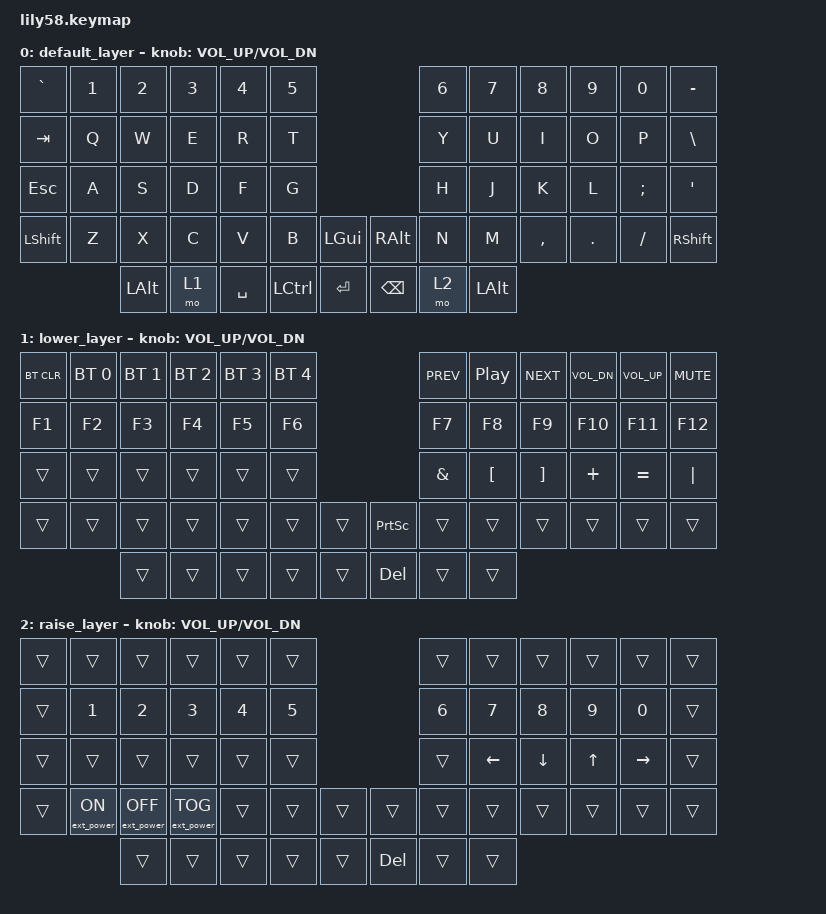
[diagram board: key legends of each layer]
/*
 * Copyright (c) 2020 The ZMK Contributors
 *
 * SPDX-License-Identifier: MIT
 */

#include <behaviors.dtsi>
#include <dt-bindings/zmk/keys.h>
#include <dt-bindings/zmk/bt.h>
#include <dt-bindings/zmk/ext_power.h>

/ {
    kscan: kscan {
        compatible = "zmk,kscan-gpio-matrix";
        diode-direction = "col2row";
        wakeup-source;
    };

    keymap {
        compatible = "zmk,keymap";
        default_layer {
            bindings = <
&kp GRAVE   &kp N1 &kp N2   &kp N3   &kp N4     &kp N5                         &kp N6    &kp N7   &kp N8    &kp N9  &kp N0   &kp MINUS
&kp TAB     &kp Q  &kp W    &kp E    &kp R      &kp T                          &kp Y     &kp U    &kp I     &kp O   &kp P    &kp BACKSLASH
&kp ESC     &kp A  &kp S    &kp D    &kp F      &kp G                          &kp H     &kp J    &kp K     &kp L   &kp SEMI &kp SQT
&kp LSHFT   &kp Z  &kp X    &kp C    &kp V      &kp B      &kp LGUI  &kp RALT  &kp N     &kp M    &kp COMMA &kp DOT &kp FSLH &kp RSHFT
                   &kp LALT &mo 1    &kp SPACE  &kp LCTRL  &kp RET   &kp BSPC  &mo 2    &kp LALT
            >;

            sensor-bindings = <&inc_dec_kp C_VOL_UP C_VOL_DN>;
        };

        lower_layer {
            bindings = <
&bt BT_CLR &bt BT_SEL 0     &bt BT_SEL 1      &bt BT_SEL 2      &bt BT_SEL 3 &bt BT_SEL 4                 &kp C_PREV    &kp C_PP  &kp C_NEXT    &kp C_VOL_DN    &kp C_VOL_UP   &kp C_MUTE
&kp F1     &kp F2           &kp F3            &kp F4            &kp F5       &kp F6                       &kp F7        &kp F8    &kp F9        &kp F10   &kp F11   &kp F12
&trans     &trans           &trans            &trans            &trans       &trans                       &kp AMPS      &kp LBKT  &kp RBKT      &kp PLUS  &kp EQUAL &kp PIPE
&trans     &trans           &trans            &trans            &trans       &trans    &trans   &kp PSCRN &trans        &trans    &trans        &trans    &trans    &trans
                            &trans            &trans            &trans       &trans    &trans   &kp DEL   &trans        &trans
            >;

            sensor-bindings = <&inc_dec_kp C_VOL_UP C_VOL_DN>;
        };

        raise_layer {
            bindings = <
&trans    &trans &trans &trans  &trans  &trans                       &trans      &trans    &trans    &trans   &trans    &trans
&trans &kp N1 &kp N2 &kp N3  &kp N4  &kp N5                          &kp N6      &kp N7    &kp N8    &kp N9   &kp N0    &trans
&trans    &trans &trans &trans  &trans  &trans                       &trans   &kp LEFT  &kp DOWN  &kp UP   &kp RIGHT &trans
&trans    &ext_power EP_ON &ext_power EP_OFF &ext_power EP_TOG &trans &trans   &trans   &trans    &trans   &trans    &trans    &trans   &trans  &trans
                        &trans  &trans  &trans    &trans   &trans    &kp DEL      &trans    &trans
            >;

            sensor-bindings = <&inc_dec_kp C_VOL_UP C_VOL_DN>;
        };
    };
};
